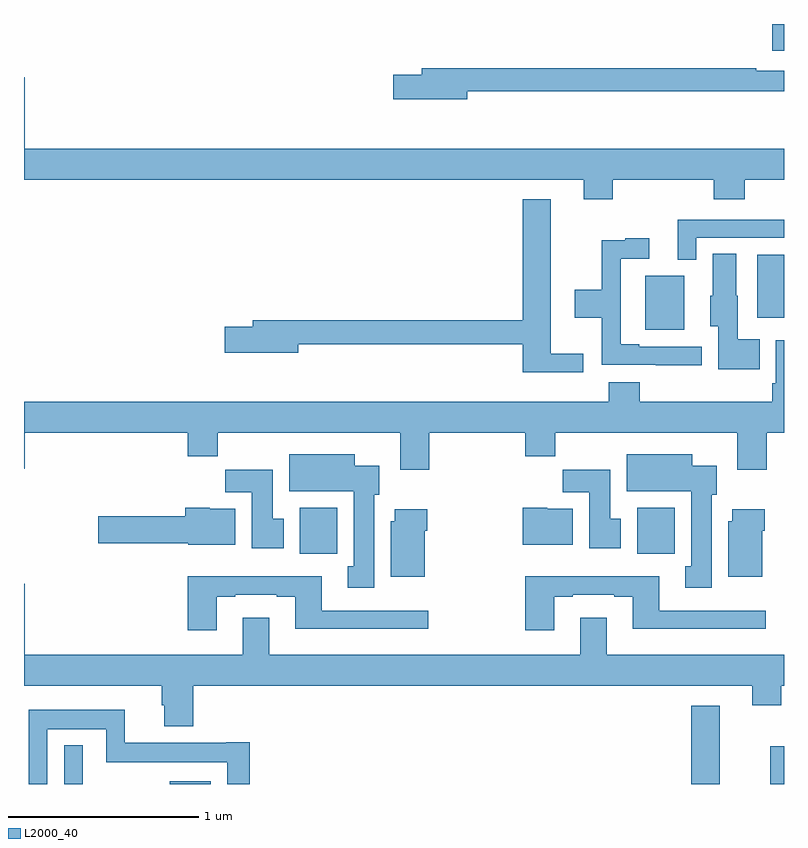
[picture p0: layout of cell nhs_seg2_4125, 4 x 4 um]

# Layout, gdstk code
import gdstk
lib = gdstk.Library(unit=1e-6, precision=1e-09)
def R(c, l, rs):  # rectangles x0, y0, x1, y1
    for r in rs: c.add(gdstk.rectangle(r[:2], r[2:], *l))
def P(c, l, *ps):  # polygons
    for p in ps: c.add(gdstk.Polygon(p, *l))
L2000_40 = (2000, 40)

nhs_seg2_4125 = lib.new_cell('nhs_seg2_4125')
R(nhs_seg2_4125, L2000_40, [(333.213,633.8,333.309,634.003), (333.767,633.8,333.982,633.814), (336.512,633.8,336.661,634.213), (336.928,633.8,337,633.998), (334.451,635.012,334.648,635.254), (336.227,635.012,336.424,635.254), (336.269,636.191,336.475,636.475), (336.86,636.254,337,636.586), (336.938,637.659,337,637.8)])
P(nhs_seg2_4125, L2000_40, [(335.332,637.446),(337,637.446),(337,637.554),(336.854,637.554),(336.854,637.567),(335.093,637.567),(335.093,637.533),(334.944,637.533),(334.944,637.403),(335.332,637.403)],
  [(336.098,636.98),(336.629,636.98),(336.629,636.878),(336.794,636.878),(336.794,636.98),(337,636.98),(337,637.144),(333.004,637.144),(333.004,637.519),(333,637.519),(333,636.98),(335.945,636.98),(335.945,636.878),(336.098,636.878)],
  [(335.944,636.065),(335.773,636.065),(335.773,636.877),(335.624,636.877),(335.624,636.242),(334.205,636.242),(334.205,636.206),(334.056,636.206),(334.056,636.071),(334.444,636.071),(334.444,636.114),(335.624,636.114),(335.624,635.966),(335.944,635.966)],
  [(336.537,636.675),(337,636.675),(337,636.771),(336.44,636.771),(336.44,636.56),(336.537,636.56)],
  [(336.568,636.102),(336.238,636.102),(336.238,636.115),(336.141,636.115),(336.141,636.564),(336.292,636.564),(336.292,636.673),(336.164,636.673),(336.164,636.662),(336.04,636.662),(336.04,636.402),(335.898,636.402),(335.898,636.254),(336.04,636.254),(336.04,636.006),(336.325,636.006),(336.325,636.005),(336.568,636.005)],
  [(336.872,636.142),(336.757,636.142),(336.757,636.369),(336.748,636.369),(336.748,636.59),(336.626,636.59),(336.626,636.369),(336.611,636.369),(336.611,636.21),(336.653,636.21),(336.653,635.984),(336.872,635.984)],
  [(335.132,635.648),(335.639,635.648),(335.639,635.524),(335.795,635.524),(335.795,635.648),(336.755,635.648),(336.755,635.454),(336.908,635.454),(336.908,635.648),(337,635.648),(337,636.136),(336.957,636.136),(336.957,635.908),(336.937,635.908),(336.937,635.812),(336.242,635.812),(336.242,635.914),(336.077,635.914),(336.077,635.812),(333,635.812),(333,635.46),(333.004,635.46),(333.004,635.648),(333.863,635.648),(333.863,635.524),(334.019,635.524),(334.019,635.648),(334.979,635.648),(334.979,635.454),(335.132,635.454)],
  [(336.619,635.322),(336.646,635.322),(336.646,635.476),(336.517,635.476),(336.517,635.536),(336.173,635.536),(336.173,635.342),(336.512,635.342),(336.512,634.946),(336.479,634.946),(336.479,634.833),(336.619,634.833)],
  [(334.843,635.322),(334.87,635.322),(334.87,635.476),(334.741,635.476),(334.741,635.536),(334.397,635.536),(334.397,635.342),(334.736,635.342),(334.736,634.946),(334.703,634.946),(334.703,634.833),(334.843,634.833)],
  [(334.366,635.196),(334.309,635.196),(334.309,635.454),(334.06,635.454),(334.06,635.336),(334.199,635.336),(334.199,635.04),(334.366,635.04)],
  [(336.142,635.196),(336.085,635.196),(336.085,635.454),(335.836,635.454),(335.836,635.336),(335.975,635.336),(335.975,635.04),(336.142,635.04)],
  [(334.111,635.248),(333.978,635.248),(333.978,635.254),(333.848,635.254),(333.848,635.208),(333.39,635.208),(333.39,635.066),(333.864,635.066),(333.864,635.06),(334.111,635.06)],
  [(335.887,635.248),(335.754,635.248),(335.754,635.254),(335.624,635.254),(335.624,635.06),(335.887,635.06)],
  [(336.886,635.132),(336.899,635.132),(336.899,635.245),(336.728,635.245),(336.728,635.184),(336.707,635.184),(336.707,634.892),(336.886,634.892)],
  [(335.11,635.132),(335.123,635.132),(335.123,635.245),(334.952,635.245),(334.952,635.184),(334.931,635.184),(334.931,634.892),(335.11,634.892)],
  [(335.791,634.785),(335.887,634.785),(335.887,634.797),(336.107,634.797),(336.107,634.785),(336.203,634.785),(336.203,634.616),(336.904,634.616),(336.904,634.713),(336.343,634.713),(336.343,634.894),(335.639,634.894),(335.639,634.608),(335.791,634.608)],
  [(334.015,634.785),(334.111,634.785),(334.111,634.797),(334.331,634.797),(334.331,634.785),(334.427,634.785),(334.427,634.616),(335.128,634.616),(335.128,634.713),(334.567,634.713),(334.567,634.894),(333.863,634.894),(333.863,634.608),(334.015,634.608)],
  [(333.89,634.316),(336.833,634.316),(336.833,634.214),(336.986,634.214),(336.986,634.316),(337,634.316),(337,634.48),(336.067,634.48),(336.067,634.675),(335.927,634.675),(335.927,634.48),(334.291,634.48),(334.291,634.675),(334.151,634.675),(334.151,634.48),(333.004,634.48),(333.004,634.855),(333,634.855),(333,634.316),(333.725,634.316),(333.725,634.215),(333.737,634.215),(333.737,634.103),(333.89,634.103)],
  [(333.123,634.088),(333.432,634.088),(333.432,633.914),(334.071,633.914),(334.071,633.8),(334.187,633.8),(334.187,634.021),(334.064,634.021),(334.064,634.018),(333.53,634.018),(333.53,634.192),(333.026,634.192),(333.026,633.8),(333.123,633.8)])

lib.write_gds('nhs_seg2_4125.gds')
